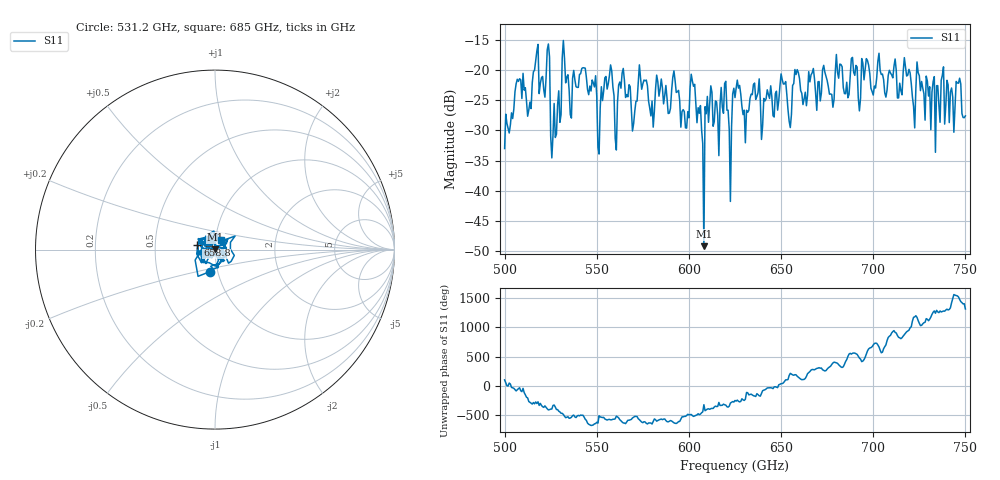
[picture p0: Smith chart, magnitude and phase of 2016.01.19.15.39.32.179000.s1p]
!Created with skrf (http://scikit-rf.org).
# GHz S RI R 50.0
!freq ReS11 ImS11
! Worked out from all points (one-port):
!   401 points, 500 GHz to 750 GHz, reference 50 ohm
!   lowest |S11| = -49.2 dB at 608.1 GHz (marker M1), VSWR 1.01, Z = 50.3 + j0.236 ohm
!   |S11| at or under -10 dB: start of sweep to end of sweep
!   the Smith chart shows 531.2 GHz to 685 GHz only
!   S11 on the Smith chart (normalised r, x): 531.2 GHz: 0.92, -0.23; 658.8 GHz: 0.82, +0.04; 685 GHz: 1.07, +0.11
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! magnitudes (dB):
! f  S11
! 500 GHz  -33.0
! 507.5 GHz  -21.9
! 513.1 GHz  -26.6
! 516.9 GHz  -18.4
! 523.1 GHz  -16.6
! 526.9 GHz  -25.5
! 531.2 GHz  -18.0
! 543.1 GHz  -19.6
! 551.9 GHz  -26.2
! 562.5 GHz  -22.0
! 570 GHz  -28.9
! 573.8 GHz  -21.3
! 593.8 GHz  -23.6
! 598.8 GHz  -29.6
! 601.9 GHz  -21.8
! 608.1 GHz  -49.2
! 611.2 GHz  -25.5
! 618.8 GHz  -27.2
! 621.9 GHz  -29.9
! 625 GHz  -24.6
! 656.2 GHz  -22.5
! 658.8 GHz  -19.9
! 685 GHz  -23.9
! 687.5 GHz  -21.0
! 718.8 GHz  -20.8
! 735 GHz  -22.6
! 746.2 GHz  -22.2
! 750 GHz  -27.6
